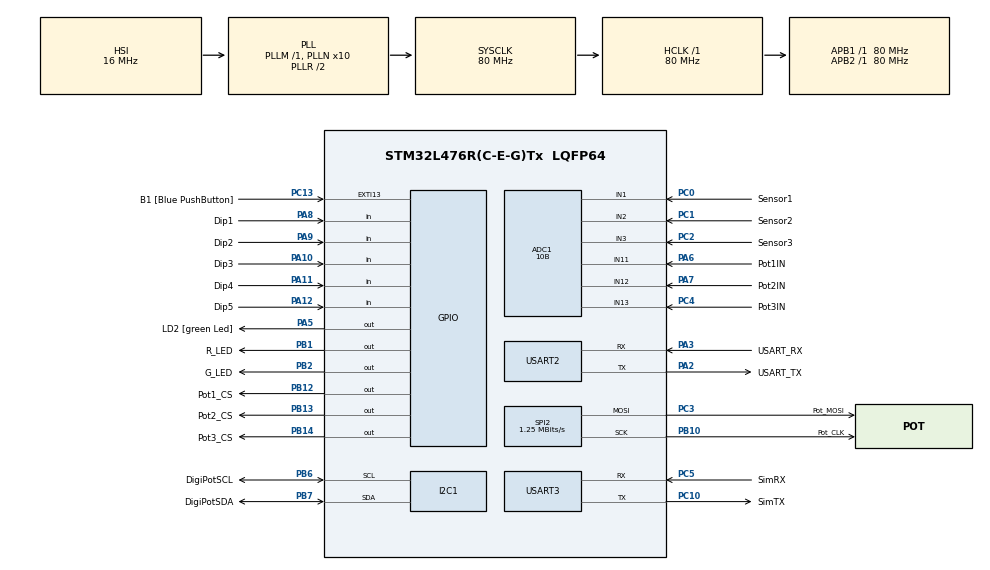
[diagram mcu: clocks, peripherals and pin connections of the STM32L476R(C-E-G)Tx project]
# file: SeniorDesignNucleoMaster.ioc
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ADC1.Channel-0\#ChannelRegularConversion=ADC_CHANNEL_1
ADC1.Channel-1\#ChannelRegularConversion=ADC_CHANNEL_2
ADC1.Channel-2\#ChannelRegularConversion=ADC_CHANNEL_3
ADC1.Channel-3\#ChannelRegularConversion=ADC_CHANNEL_11
ADC1.Channel-4\#ChannelRegularConversion=ADC_CHANNEL_12
ADC1.Channel-5\#ChannelRegularConversion=ADC_CHANNEL_13
ADC1.ContinuousConvMode=ENABLE
ADC1.DMAContinuousRequests=ENABLE
ADC1.NbrOfConversion=6
ADC1.NbrOfConversionFlag=1
ADC1.OffsetNumber-0\#ChannelRegularConversion=ADC_OFFSET_NONE
ADC1.OffsetNumber-1\#ChannelRegularConversion=ADC_OFFSET_NONE
ADC1.OffsetNumber-2\#ChannelRegularConversion=ADC_OFFSET_NONE
ADC1.OffsetNumber-3\#ChannelRegularConversion=ADC_OFFSET_NONE
ADC1.OffsetNumber-4\#ChannelRegularConversion=ADC_OFFSET_NONE
ADC1.OffsetNumber-5\#ChannelRegularConversion=ADC_OFFSET_NONE
ADC1.Rank-0\#ChannelRegularConversion=1
ADC1.Rank-1\#ChannelRegularConversion=2
ADC1.Rank-2\#ChannelRegularConversion=3
ADC1.Rank-3\#ChannelRegularConversion=4
ADC1.Rank-4\#ChannelRegularConversion=5
ADC1.Rank-5\#ChannelRegularConversion=6
ADC1.Resolution=ADC_RESOLUTION_10B
ADC1.SamplingTime-0\#ChannelRegularConversion=ADC_SAMPLETIME_247CYCLES_5
ADC1.SamplingTime-1\#ChannelRegularConversion=ADC_SAMPLETIME_247CYCLES_5
ADC1.SamplingTime-2\#ChannelRegularConversion=ADC_SAMPLETIME_247CYCLES_5
ADC1.SamplingTime-3\#ChannelRegularConversion=ADC_SAMPLETIME_247CYCLES_5
ADC1.SamplingTime-4\#ChannelRegularConversion=ADC_SAMPLETIME_247CYCLES_5
ADC1.SamplingTime-5\#ChannelRegularConversion=ADC_SAMPLETIME_247CYCLES_5
ADC1.master=1
Dma.ADC1.0.Direction=DMA_PERIPH_TO_MEMORY
Dma.ADC1.0.Instance=DMA1_Channel1
Dma.ADC1.0.MemDataAlignment=DMA_MDATAALIGN_WORD
Dma.ADC1.0.MemInc=DMA_MINC_ENABLE
Dma.ADC1.0.Mode=DMA_CIRCULAR
Dma.ADC1.0.PeriphDataAlignment=DMA_PDATAALIGN_WORD
Dma.ADC1.0.PeriphInc=DMA_PINC_DISABLE
Dma.ADC1.0.Priority=DMA_PRIORITY_VERY_HIGH
Dma.Request0=ADC1
I2C1.Timing=0x10909CEC
Mcu.Family=STM32L4
Mcu.Name=STM32L476R(C-E-G)Tx
Mcu.Package=LQFP64
NVIC.ADC1_2_IRQn=true\:0\:0\:false\:false\:true\:true\:true
NVIC.DMA1_Channel1_IRQn=true\:0\:0\:false\:false\:true\:false\:true
NVIC.PriorityGroup=NVIC_PRIORITYGROUP_4
PA10.GPIO_Label=Dip3
PA10.Signal=GPIO_Input
PA11.GPIO_Label=Dip4
PA11.Signal=GPIO_Input
PA12.GPIO_Label=Dip5
PA12.Signal=GPIO_Input
PA13\ (JTMS-SWDIO).GPIO_Label=TMS
PA13\ (JTMS-SWDIO).Mode=Serial_Wire
PA13\ (JTMS-SWDIO).Signal=SYS_JTMS-SWDIO
PA14\ (JTCK-SWCLK).GPIO_Label=TCK
PA14\ (JTCK-SWCLK).Mode=Serial_Wire
PA14\ (JTCK-SWCLK).Signal=SYS_JTCK-SWCLK
PA2.GPIO_Label=USART_TX
PA2.GPIO_Mode=GPIO_MODE_AF_PP
PA2.GPIO_PuPd=GPIO_NOPULL
PA2.GPIO_Speed=GPIO_SPEED_FREQ_VERY_HIGH
PA2.Mode=Asynchronous
PA2.Signal=USART2_TX
PA3.GPIO_Label=USART_RX
PA3.GPIO_Mode=GPIO_MODE_AF_PP
PA3.GPIO_PuPd=GPIO_NOPULL
PA3.GPIO_Speed=GPIO_SPEED_FREQ_VERY_HIGH
PA3.Mode=Asynchronous
PA3.Signal=USART2_RX
PA5.GPIO_Label=LD2 [green Led]
PA5.GPIO_ModeDefaultOutputPP=GPIO_MODE_OUTPUT_PP
PA5.GPIO_PuPd=GPIO_NOPULL
PA5.GPIO_Speed=GPIO_SPEED_FREQ_LOW
PA5.Signal=GPIO_Output
PA6.GPIO_Label=Pot1IN
PA6.Signal=ADCx_IN11
PA7.GPIO_Label=Pot2IN
PA7.Signal=ADCx_IN12
PA8.GPIO_Label=Dip1
PA8.Signal=GPIO_Input
PA9.GPIO_Label=Dip2
PA9.Signal=GPIO_Input
PB1.GPIO_Label=R_LED
PB1.Signal=GPIO_Output
PB10.GPIO_Label=Pot_CLK
PB10.Mode=TX_Only_Simplex_Unidirect_Master
PB10.Signal=SPI2_SCK
PB12.GPIO_Label=Pot1_CS
PB12.Signal=GPIO_Output
PB13.GPIO_Label=Pot2_CS
PB13.Signal=GPIO_Output
PB14.GPIO_Label=Pot3_CS
PB14.Signal=GPIO_Output
PB2.GPIO_Label=G_LED
PB2.Signal=GPIO_Output
PB3\ (JTDO-TRACESWO).GPIO_Label=SWO
PB3\ (JTDO-TRACESWO).Signal=SYS_JTDO-SWO
PB6.GPIO_Label=DigiPotSCL
PB6.Mode=I2C
PB6.Signal=I2C1_SCL
PB7.GPIO_Label=DigiPotSDA
PB7.Mode=I2C
PB7.Signal=I2C1_SDA
PC0.GPIO_Label=Sensor1
PC0.Signal=ADCx_IN1
PC1.GPIO_Label=Sensor2
PC1.Signal=ADCx_IN2
PC10.GPIO_Label=SimTX
PC10.Mode=Asynchronous
PC10.Signal=USART3_TX
PC13.GPIO_Label=B1 [Blue PushButton]
PC13.GPIO_ModeDefaultEXTI=GPIO_MODE_IT_FALLING
PC13.GPIO_PuPd=GPIO_NOPULL
PC13.Signal=GPXTI13
PC14-OSC32_IN\ (PC14).Mode=LSE-External-Oscillator
PC14-OSC32_IN\ (PC14).Signal=RCC_OSC32_IN
PC15-OSC32_OUT\ (PC15).Mode=LSE-External-Oscillator
PC15-OSC32_OUT\ (PC15).Signal=RCC_OSC32_OUT
PC2.GPIO_Label=Sensor3
PC2.Signal=ADCx_IN3
PC3.GPIO_Label=Pot_MOSI
PC3.Mode=TX_Only_Simplex_Unidirect_Master
PC3.Signal=SPI2_MOSI
PC4.GPIO_Label=Pot3IN
PC4.Signal=ADCx_IN13
PC5.GPIO_Label=SimRX
PC5.Mode=Asynchronous
PC5.Signal=USART3_RX
PH0-OSC_IN\ (PH0).Signal=RCC_OSC_IN
PH1-OSC_OUT\ (PH1).Signal=RCC_OSC_OUT
ProjectManager.HeapSize=0x200
ProjectManager.StackSize=0x400
ProjectManager.TargetToolchain=STM32CubeIDE
RCC.ADCFreq_Value=64000000
RCC.AHBFreq_Value=80000000
RCC.APB1Freq_Value=80000000
RCC.APB1TimFreq_Value=80000000
RCC.APB2Freq_Value=80000000
RCC.APB2TimFreq_Value=80000000
RCC.CortexFreq_Value=80000000
RCC.HCLKFreq_Value=80000000
RCC.HSE_VALUE=8000000
RCC.HSI_VALUE=16000000
RCC.MSI_VALUE=4000000
RCC.PLLN=10
RCC.PLLSourceVirtual=RCC_PLLSOURCE_HSI
RCC.PREFETCH_ENABLE=1
RCC.SYSCLKFreq_VALUE=80000000
RCC.SYSCLKSource=RCC_SYSCLKSOURCE_PLLCLK
RCC.USBFreq_Value=64000000
RCC.VCOOutputFreq_Value=160000000
SH.ADCx_IN1.0=ADC1_IN1,IN1-Single-Ended
SH.ADCx_IN11.0=ADC1_IN11,IN11-Single-Ended
SH.ADCx_IN12.0=ADC1_IN12,IN12-Single-Ended
SH.ADCx_IN13.0=ADC1_IN13,IN13-Single-Ended
SH.ADCx_IN2.0=ADC1_IN2,IN2-Single-Ended
SH.ADCx_IN3.0=ADC1_IN3,IN3-Single-Ended
SPI2.BaudRatePrescaler=SPI_BAUDRATEPRESCALER_64
SPI2.CalculateBaudRate=1.25 MBits/s
SPI2.DataSize=SPI_DATASIZE_8BIT
SPI2.Direction=SPI_DIRECTION_2LINES
SPI2.Mode=SPI_MODE_MASTER
SPI2.NSSPMode=SPI_NSS_PULSE_DISABLE
SPI2.VirtualType=VM_MASTER
USART2.VirtualMode-Asynchronous=VM_ASYNC
USART3.VirtualMode-Asynchronous=VM_ASYNC
board=NUCLEO-L476RG

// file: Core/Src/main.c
/* USER CODE BEGIN Header */
/**
  ******************************************************************************
  * @file           : main.c
  * @brief          : Main program body
  ******************************************************************************
  * @attention
  *
  * <h2><center>&copy; Copyright (c) 2021 STMicroelectronics.
  * All rights reserved.</center></h2>
  *
  * This software component is licensed by ST under BSD 3-Clause license,
  * the "License"; You may not use this file except in compliance with the
  * License. You may obtain a copy of the License at:
  *                        opensource.org/licenses/BSD-3-Clause
  *
  ******************************************************************************
  */
/* USER CODE END Header */
#include "main.h"

/* USER CODE BEGIN Includes */

#include <string.h>
#include <stdio.h>
#include <main.h>

/* USER CODE END Includes */

ADC_HandleTypeDef hadc1;
DMA_HandleTypeDef hdma_adc1;

I2C_HandleTypeDef hi2c1;

SPI_HandleTypeDef hspi2;

UART_HandleTypeDef huart2;
UART_HandleTypeDef huart3;

void SystemClock_Config(void);
static void MX_GPIO_Init(void);
static void MX_DMA_Init(void);
static void MX_USART2_UART_Init(void);
static void MX_ADC1_Init(void);
static void MX_SPI2_Init(void);
static void MX_USART3_UART_Init(void);
static void MX_I2C1_Init(void);

/* USER CODE BEGIN 0 */
uint32_t adc[6], buffer[6], sensor1, sensor2, sensor3, pot1in, pot2in, pot3in;

void HAL_ADC_ConvCpltCallback(ADC_HandleTypeDef *hadc)
{
	for (int i = 0; i<6; i++)
		{
			adc[i] = buffer[i];
		}
}
/* USER CODE END 0 */

int main(void)
{
  /* USER CODE BEGIN 1 */
	uint8_t buf[12];
	char msg[20];

  /* USER CODE END 1 */

  /* MCU Configuration--------------------------------------------------------*/

  /* Reset of all peripherals, Initializes the Flash interface and the Systick. */
  HAL_Init();

  /* Configure the system clock */
  SystemClock_Config();

  /* Initialize all configured peripherals */
  MX_GPIO_Init();
  MX_DMA_Init();
  MX_USART2_UART_Init();
  MX_ADC1_Init();
  MX_SPI2_Init();
  MX_USART3_UART_Init();
  MX_I2C1_Init();
  /* USER CODE BEGIN 2 */
  //DMA stores ADC values in memory to be called back when needed.
  //buffer holds the values until conversions are complete,
  //at which point the adc[] array holds the referenced values.
  HAL_ADC_Start_DMA (&hadc1, buffer, 6);
  /* USER CODE END 2 */

  /* Infinite loop */
  /* USER CODE BEGIN WHILE */
  while (1)
  {
	  strcpy((char*)buf, "ADC Test!\r\n");
	  HAL_UART_Transmit(&huart2, buf, strlen((char*)buf), HAL_MAX_DELAY);
	  HAL_Delay(500);
    /* USER CODE END WHILE */

    /* USER CODE BEGIN 3 */

	  HAL_GPIO_TogglePin (GPIOA, GPIO_PIN_5);
	  HAL_Delay(100);
	  //Using DMA to scan ADC values and transmit them to serial

	  // Convert ADC values to string and print
	  for (int i=0;i<6;i++)
	  	  {
		  sprintf(msg, "ADC#%u value: %lu\r\n", i, adc[i]);
		  HAL_UART_Transmit(&huart2, (uint8_t*)msg, strlen(msg), HAL_MAX_DELAY);
		  HAL_Delay (100);
	  	  }
	  HAL_Delay(100);
  }
  /* USER CODE END 3 */
}

void SystemClock_Config(void)
{
  RCC_OscInitTypeDef RCC_OscInitStruct = {0};
  RCC_ClkInitTypeDef RCC_ClkInitStruct = {0};
  RCC_PeriphCLKInitTypeDef PeriphClkInit = {0};

  /** Initializes the RCC Oscillators according to the specified parameters
  * in the RCC_OscInitTypeDef structure.
  */
  RCC_OscInitStruct.OscillatorType = RCC_OSCILLATORTYPE_HSI;
  RCC_OscInitStruct.HSIState = RCC_HSI_ON;
  RCC_OscInitStruct.HSICalibrationValue = RCC_HSICALIBRATION_DEFAULT;
  RCC_OscInitStruct.PLL.PLLState = RCC_PLL_ON;
  RCC_OscInitStruct.PLL.PLLSource = RCC_PLLSOURCE_HSI;
  RCC_OscInitStruct.PLL.PLLM = 1;
  RCC_OscInitStruct.PLL.PLLN = 10;
  RCC_OscInitStruct.PLL.PLLP = RCC_PLLP_DIV7;
  RCC_OscInitStruct.PLL.PLLQ = RCC_PLLQ_DIV2;
  RCC_OscInitStruct.PLL.PLLR = RCC_PLLR_DIV2;
  if (HAL_RCC_OscConfig(&RCC_OscInitStruct) != HAL_OK)
  {
    Error_Handler();
  }
  /** Initializes the CPU, AHB and APB buses clocks
  */
  RCC_ClkInitStruct.ClockType = RCC_CLOCKTYPE_HCLK|RCC_CLOCKTYPE_SYSCLK
                              |RCC_CLOCKTYPE_PCLK1|RCC_CLOCKTYPE_PCLK2;
  RCC_ClkInitStruct.SYSCLKSource = RCC_SYSCLKSOURCE_PLLCLK;
  RCC_ClkInitStruct.AHBCLKDivider = RCC_SYSCLK_DIV1;
  RCC_ClkInitStruct.APB1CLKDivider = RCC_HCLK_DIV1;
  RCC_ClkInitStruct.APB2CLKDivider = RCC_HCLK_DIV1;

  if (HAL_RCC_ClockConfig(&RCC_ClkInitStruct, FLASH_LATENCY_4) != HAL_OK)
  {
    Error_Handler();
  }
  PeriphClkInit.PeriphClockSelection = RCC_PERIPHCLK_USART2|RCC_PERIPHCLK_USART3
                              |RCC_PERIPHCLK_I2C1|RCC_PERIPHCLK_ADC;
  PeriphClkInit.Usart2ClockSelection = RCC_USART2CLKSOURCE_PCLK1;
  PeriphClkInit.Usart3ClockSelection = RCC_USART3CLKSOURCE_PCLK1;
  PeriphClkInit.I2c1ClockSelection = RCC_I2C1CLKSOURCE_PCLK1;
  PeriphClkInit.AdcClockSelection = RCC_ADCCLKSOURCE_PLLSAI1;
  PeriphClkInit.PLLSAI1.PLLSAI1Source = RCC_PLLSOURCE_HSI;
  PeriphClkInit.PLLSAI1.PLLSAI1M = 1;
  PeriphClkInit.PLLSAI1.PLLSAI1N = 8;
  PeriphClkInit.PLLSAI1.PLLSAI1P = RCC_PLLP_DIV7;
  PeriphClkInit.PLLSAI1.PLLSAI1Q = RCC_PLLQ_DIV2;
  PeriphClkInit.PLLSAI1.PLLSAI1R = RCC_PLLR_DIV2;
  PeriphClkInit.PLLSAI1.PLLSAI1ClockOut = RCC_PLLSAI1_ADC1CLK;
  if (HAL_RCCEx_PeriphCLKConfig(&PeriphClkInit) != HAL_OK)
  {
    Error_Handler();
  }
  /** Configure the main internal regulator output voltage
  */
  if (HAL_PWREx_ControlVoltageScaling(PWR_REGULATOR_VOLTAGE_SCALE1) != HAL_OK)
  {
    Error_Handler();
  }
}

static void MX_ADC1_Init(void)
{

  ADC_MultiModeTypeDef multimode = {0};
  ADC_ChannelConfTypeDef sConfig = {0};

  /** Common config
  */
  hadc1.Instance = ADC1;
  hadc1.Init.ClockPrescaler = ADC_CLOCK_ASYNC_DIV1;
  hadc1.Init.Resolution = ADC_RESOLUTION_10B;
  hadc1.Init.DataAlign = ADC_DATAALIGN_RIGHT;
  hadc1.Init.ScanConvMode = ADC_SCAN_ENABLE;
  hadc1.Init.EOCSelection = ADC_EOC_SINGLE_CONV;
  hadc1.Init.LowPowerAutoWait = DISABLE;
  hadc1.Init.ContinuousConvMode = ENABLE;
  hadc1.Init.NbrOfConversion = 6;
  hadc1.Init.DiscontinuousConvMode = DISABLE;
  hadc1.Init.ExternalTrigConv = ADC_SOFTWARE_START;
  hadc1.Init.ExternalTrigConvEdge = ADC_EXTERNALTRIGCONVEDGE_NONE;
  hadc1.Init.DMAContinuousRequests = ENABLE;
  hadc1.Init.Overrun = ADC_OVR_DATA_PRESERVED;
  hadc1.Init.OversamplingMode = DISABLE;
  if (HAL_ADC_Init(&hadc1) != HAL_OK)
  {
    Error_Handler();
  }
  /** Configure the ADC multi-mode
  */
  multimode.Mode = ADC_MODE_INDEPENDENT;
  if (HAL_ADCEx_MultiModeConfigChannel(&hadc1, &multimode) != HAL_OK)
  {
    Error_Handler();
  }
  /** Configure Regular Channel
  */
  sConfig.Channel = ADC_CHANNEL_1;
  sConfig.Rank = ADC_REGULAR_RANK_1;
  sConfig.SamplingTime = ADC_SAMPLETIME_247CYCLES_5;
  sConfig.SingleDiff = ADC_SINGLE_ENDED;
  sConfig.OffsetNumber = ADC_OFFSET_NONE;
  sConfig.Offset = 0;
  if (HAL_ADC_ConfigChannel(&hadc1, &sConfig) != HAL_OK)
  {
    Error_Handler();
  }
  /** Configure Regular Channel
  */
  sConfig.Channel = ADC_CHANNEL_2;
  sConfig.Rank = ADC_REGULAR_RANK_2;
  if (HAL_ADC_ConfigChannel(&hadc1, &sConfig) != HAL_OK)
  {
    Error_Handler();
  }
  /** Configure Regular Channel
  */
  sConfig.Channel = ADC_CHANNEL_3;
  sConfig.Rank = ADC_REGULAR_RANK_3;
  if (HAL_ADC_ConfigChannel(&hadc1, &sConfig) != HAL_OK)
  {
    Error_Handler();
  }
  /** Configure Regular Channel
  */
  sConfig.Channel = ADC_CHANNEL_11;
  sConfig.Rank = ADC_REGULAR_RANK_4;
  if (HAL_ADC_ConfigChannel(&hadc1, &sConfig) != HAL_OK)
  {
    Error_Handler();
  }
  /** Configure Regular Channel
  */
  sConfig.Channel = ADC_CHANNEL_12;
  sConfig.Rank = ADC_REGULAR_RANK_5;
  if (HAL_ADC_ConfigChannel(&hadc1, &sConfig) != HAL_OK)
  {
    Error_Handler();
  }
  /** Configure Regular Channel
  */
  sConfig.Channel = ADC_CHANNEL_13;
  sConfig.Rank = ADC_REGULAR_RANK_6;
  if (HAL_ADC_ConfigChannel(&hadc1, &sConfig) != HAL_OK)
  {
    Error_Handler();
  }

}

static void MX_I2C1_Init(void)
{

  hi2c1.Instance = I2C1;
  hi2c1.Init.Timing = 0x10909CEC;
  hi2c1.Init.OwnAddress1 = 0;
  hi2c1.Init.AddressingMode = I2C_ADDRESSINGMODE_7BIT;
  hi2c1.Init.DualAddressMode = I2C_DUALADDRESS_DISABLE;
  hi2c1.Init.OwnAddress2 = 0;
  hi2c1.Init.OwnAddress2Masks = I2C_OA2_NOMASK;
  hi2c1.Init.GeneralCallMode = I2C_GENERALCALL_DISABLE;
  hi2c1.Init.NoStretchMode = I2C_NOSTRETCH_DISABLE;
  if (HAL_I2C_Init(&hi2c1) != HAL_OK)
  {
    Error_Handler();
  }
  /** Configure Analogue filter
  */
  if (HAL_I2CEx_ConfigAnalogFilter(&hi2c1, I2C_ANALOGFILTER_ENABLE) != HAL_OK)
  {
    Error_Handler();
  }
  /** Configure Digital filter
  */
  if (HAL_I2CEx_ConfigDigitalFilter(&hi2c1, 0) != HAL_OK)
  {
    Error_Handler();
  }

}

static void MX_SPI2_Init(void)
{

  /* SPI2 parameter configuration*/
  hspi2.Instance = SPI2;
  hspi2.Init.Mode = SPI_MODE_MASTER;
  hspi2.Init.Direction = SPI_DIRECTION_2LINES;
  hspi2.Init.DataSize = SPI_DATASIZE_8BIT;
  hspi2.Init.CLKPolarity = SPI_POLARITY_LOW;
  hspi2.Init.CLKPhase = SPI_PHASE_1EDGE;
  hspi2.Init.NSS = SPI_NSS_SOFT;
  hspi2.Init.BaudRatePrescaler = SPI_BAUDRATEPRESCALER_64;
  hspi2.Init.FirstBit = SPI_FIRSTBIT_MSB;
  hspi2.Init.TIMode = SPI_TIMODE_DISABLE;
  hspi2.Init.CRCCalculation = SPI_CRCCALCULATION_DISABLE;
  hspi2.Init.CRCPolynomial = 7;
  hspi2.Init.CRCLength = SPI_CRC_LENGTH_DATASIZE;
  hspi2.Init.NSSPMode = SPI_NSS_PULSE_DISABLE;
  if (HAL_SPI_Init(&hspi2) != HAL_OK)
  {
    Error_Handler();
  }

}

static void MX_USART2_UART_Init(void)
{

  huart2.Instance = USART2;
  huart2.Init.BaudRate = 115200;
  huart2.Init.WordLength = UART_WORDLENGTH_8B;
  huart2.Init.StopBits = UART_STOPBITS_1;
  huart2.Init.Parity = UART_PARITY_NONE;
  huart2.Init.Mode = UART_MODE_TX_RX;
  huart2.Init.HwFlowCtl = UART_HWCONTROL_NONE;
  huart2.Init.OverSampling = UART_OVERSAMPLING_16;
  huart2.Init.OneBitSampling = UART_ONE_BIT_SAMPLE_DISABLE;
  huart2.AdvancedInit.AdvFeatureInit = UART_ADVFEATURE_NO_INIT;
  if (HAL_UART_Init(&huart2) != HAL_OK)
  {
    Error_Handler();
  }

}

static void MX_USART3_UART_Init(void)
{

  huart3.Instance = USART3;
  huart3.Init.BaudRate = 115200;
  huart3.Init.WordLength = UART_WORDLENGTH_8B;
  huart3.Init.StopBits = UART_STOPBITS_1;
  huart3.Init.Parity = UART_PARITY_NONE;
  huart3.Init.Mode = UART_MODE_TX_RX;
  huart3.Init.HwFlowCtl = UART_HWCONTROL_NONE;
  huart3.Init.OverSampling = UART_OVERSAMPLING_16;
  huart3.Init.OneBitSampling = UART_ONE_BIT_SAMPLE_DISABLE;
  huart3.AdvancedInit.AdvFeatureInit = UART_ADVFEATURE_NO_INIT;
  if (HAL_UART_Init(&huart3) != HAL_OK)
  {
    Error_Handler();
  }

}

static void MX_DMA_Init(void)
{

  /* DMA controller clock enable */
  __HAL_RCC_DMA1_CLK_ENABLE();

  /* DMA interrupt init */
  /* DMA1_Channel1_IRQn interrupt configuration */
  HAL_NVIC_SetPriority(DMA1_Channel1_IRQn, 0, 0);
  HAL_NVIC_EnableIRQ(DMA1_Channel1_IRQn);

}

static void MX_GPIO_Init(void)
{
  GPIO_InitTypeDef GPIO_InitStruct = {0};

  /* GPIO Ports Clock Enable */
  __HAL_RCC_GPIOC_CLK_ENABLE();
  __HAL_RCC_GPIOH_CLK_ENABLE();
  __HAL_RCC_GPIOA_CLK_ENABLE();
  __HAL_RCC_GPIOB_CLK_ENABLE();

  /*Configure GPIO pin Output Level */
  HAL_GPIO_WritePin(LD2_GPIO_Port, LD2_Pin, GPIO_PIN_RESET);

  /*Configure GPIO pin Output Level */
  HAL_GPIO_WritePin(GPIOB, R_LED_Pin|G_LED_Pin|Pot1_CS_Pin|Pot2_CS_Pin
                          |Pot3_CS_Pin, GPIO_PIN_RESET);

  /*Configure GPIO pin : B1_Pin */
  GPIO_InitStruct.Pin = B1_Pin;
  GPIO_InitStruct.Mode = GPIO_MODE_IT_FALLING;
  GPIO_InitStruct.Pull = GPIO_NOPULL;
  HAL_GPIO_Init(B1_GPIO_Port, &GPIO_InitStruct);

  /*Configure GPIO pin : LD2_Pin */
  GPIO_InitStruct.Pin = LD2_Pin;
  GPIO_InitStruct.Mode = GPIO_MODE_OUTPUT_PP;
  GPIO_InitStruct.Pull = GPIO_NOPULL;
  GPIO_InitStruct.Speed = GPIO_SPEED_FREQ_LOW;
  HAL_GPIO_Init(LD2_GPIO_Port, &GPIO_InitStruct);

  /*Configure GPIO pins : R_LED_Pin G_LED_Pin Pot1_CS_Pin Pot2_CS_Pin
                           Pot3_CS_Pin */
  GPIO_InitStruct.Pin = R_LED_Pin|G_LED_Pin|Pot1_CS_Pin|Pot2_CS_Pin
                          |Pot3_CS_Pin;
  GPIO_InitStruct.Mode = GPIO_MODE_OUTPUT_PP;
  GPIO_InitStruct.Pull = GPIO_NOPULL;
  GPIO_InitStruct.Speed = GPIO_SPEED_FREQ_LOW;
  HAL_GPIO_Init(GPIOB, &GPIO_InitStruct);

  /*Configure GPIO pins : Dip1_Pin Dip2_Pin Dip3_Pin Dip4_Pin
                           Dip5_Pin */
  GPIO_InitStruct.Pin = Dip1_Pin|Dip2_Pin|Dip3_Pin|Dip4_Pin
                          |Dip5_Pin;
  GPIO_InitStruct.Mode = GPIO_MODE_INPUT;
  GPIO_InitStruct.Pull = GPIO_NOPULL;
  HAL_GPIO_Init(GPIOA, &GPIO_InitStruct);

}

void Error_Handler(void)
{
  __disable_irq();
  while (1)
  {
  }
}

/************************ (C) COPYRIGHT STMicroelectronics *****END OF FILE****/
